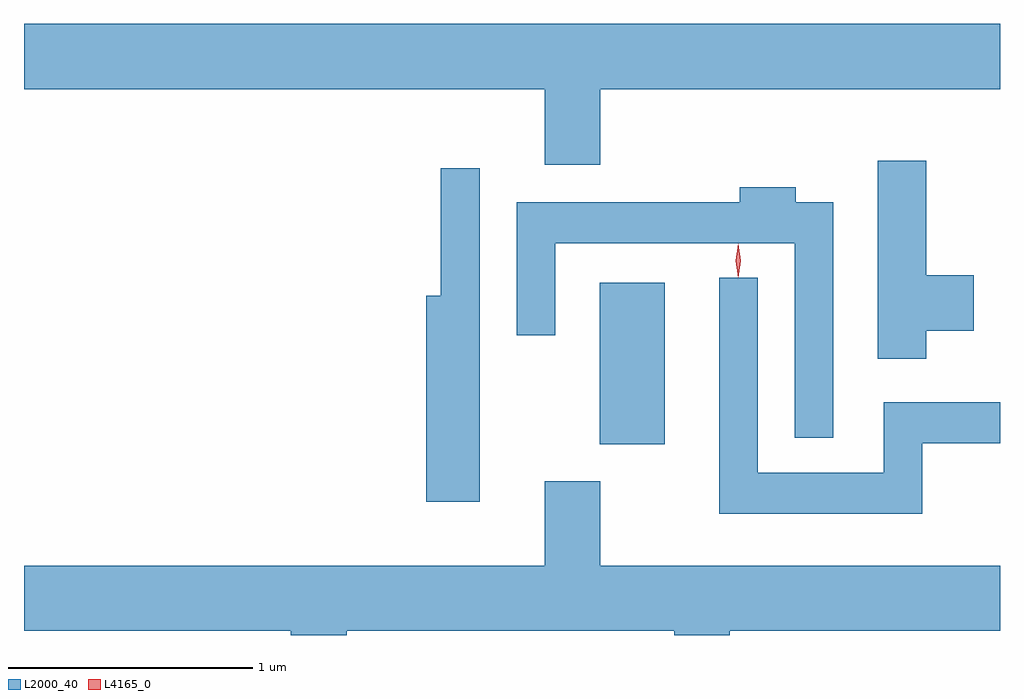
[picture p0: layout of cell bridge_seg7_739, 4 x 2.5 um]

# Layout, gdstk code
import gdstk
lib = gdstk.Library(unit=1e-6, precision=1e-09)
def R(c, l, rs):  # rectangles x0, y0, x1, y1
    for r in rs: c.add(gdstk.rectangle(r[:2], r[2:], *l))
def P(c, l, *ps):  # polygons
    for p in ps: c.add(gdstk.Polygon(p, *l))
L2000_40 = (2000, 40)
L4165_0 = (4165, 0)

bridge_seg7_739 = lib.new_cell('bridge_seg7_739')
R(bridge_seg7_739, L2000_40, [(509.046,1763.921,509.314,1764.584)])
P(bridge_seg7_739, L2000_40, [(509.049,1765.376),(510.687,1765.376),(510.687,1765.644),(506.687,1765.644),(506.687,1765.376),(508.821,1765.376),(508.821,1765.066),(509.049,1765.066)],
  [(510.384,1764.386),(510.579,1764.386),(510.579,1764.614),(510.384,1764.614),(510.384,1765.084),(510.186,1765.084),(510.186,1764.271),(510.384,1764.271)],
  [(508.554,1765.053),(508.396,1765.053),(508.396,1764.529),(508.336,1764.529),(508.336,1763.686),(508.554,1763.686)],
  [(510.004,1764.914),(509.849,1764.914),(509.849,1764.974),(509.621,1764.974),(509.621,1764.914),(508.706,1764.914),(508.706,1764.368),(508.864,1764.368),(508.864,1764.746),(509.846,1764.746),(509.846,1763.948),(510.004,1763.948)],
  [(510.369,1763.926),(510.687,1763.926),(510.687,1764.094),(510.211,1764.094),(510.211,1763.804),(509.694,1763.804),(509.694,1764.603),(509.536,1764.603),(509.536,1763.636),(510.369,1763.636)],
  [(508.009,1763.156),(509.351,1763.156),(509.351,1763.139),(509.579,1763.139),(509.579,1763.156),(510.687,1763.156),(510.687,1763.424),(509.049,1763.424),(509.049,1763.769),(508.821,1763.769),(508.821,1763.424),(506.687,1763.424),(506.687,1763.156),(507.781,1763.156),(507.781,1763.139),(508.009,1763.139)])
P(bridge_seg7_739, L4165_0, [(509.614,1764.607),(509.605,1764.674),(509.614,1764.74),(509.615,1764.741),(509.615,1764.74),(509.625,1764.674),(509.615,1764.607),(509.615,1764.607)],
  [(509.614,1764.604),(509.605,1764.674),(509.614,1764.742),(509.615,1764.743),(509.615,1764.742),(509.625,1764.674),(509.615,1764.604),(509.615,1764.604)])

lib.write_gds('bridge_seg7_739.gds')
